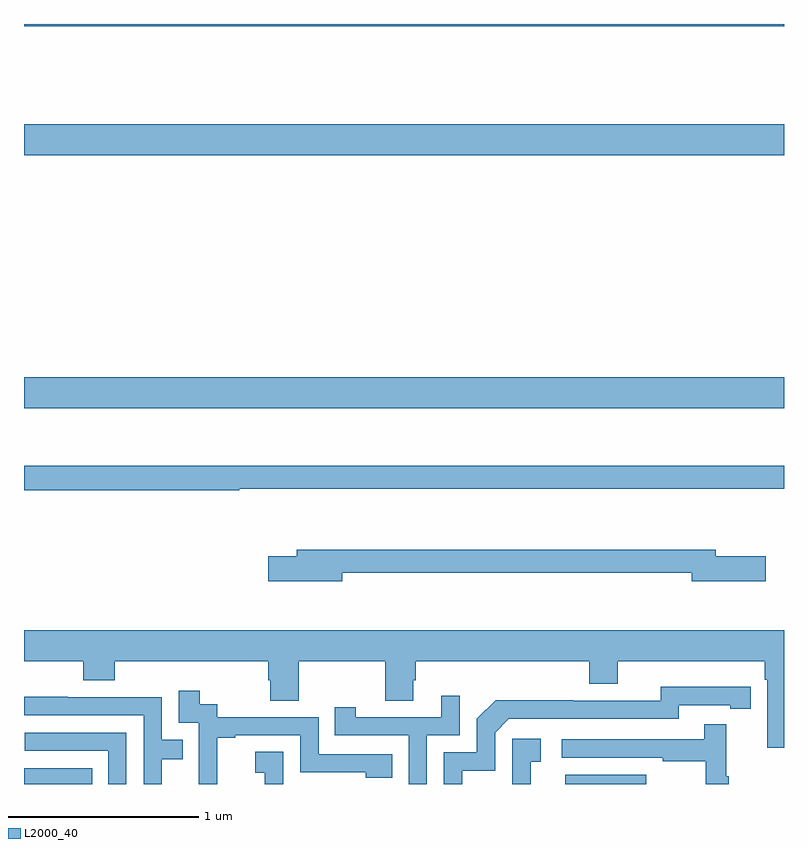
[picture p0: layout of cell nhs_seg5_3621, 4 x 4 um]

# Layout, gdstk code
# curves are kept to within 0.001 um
import gdstk
lib = gdstk.Library(unit=1e-6, precision=1e-09)
def R(c, l, rs):  # rectangles x0, y0, x1, y1
    for r in rs: c.add(gdstk.rectangle(r[:2], r[2:], *l))
def P(c, l, *ps):  # polygons
    for p in ps: c.add(gdstk.Polygon(p, *l))
L2000_40 = (2000, 40)

nhs_seg5_3621 = lib.new_cell('nhs_seg5_3621')
R(nhs_seg5_3621, L2000_40, [(325,838.799,325.358,838.882), (327.848,838.799,328.276,838.849), (325,840.776,329,840.94), (325,842.108,329,842.272), (325,842.788,329,842.799)])
P(nhs_seg5_3621, L2000_40, [(326.134,840.354),(329,840.354),(329,840.475),(325,840.475),(325,840.346),(326.134,840.346)],
  [(326.674,839.91),(328.514,839.91),(328.514,839.867),(328.903,839.867),(328.903,839.997),(328.642,839.997),(328.642,840.031),(326.435,840.031),(326.435,839.997),(326.286,839.997),(326.286,839.867),(326.674,839.867)],
  [(329,839.608),(325,839.608),(325,839.444),(325.313,839.444),(325.313,839.345),(325.478,839.345),(325.478,839.444),(326.285,839.444),(326.285,839.346),(326.297,839.346),(326.297,839.236),(326.445,839.236),(326.445,839.444),(326.902,839.444),(326.902,839.236),(327.049,839.236),(327.049,839.346),(327.062,839.346),(327.062,839.444),(327.974,839.444),(327.974,839.327),(328.126,839.327),(328.126,839.444),(328.898,839.444),(328.898,839.348),(328.911,839.348),(328.911,838.989),(329,838.989)],
  [(327.307,838.869),(327.48,838.869),(327.48,839.07),(327.552,839.142),(328.446,839.142),(328.446,839.214),(328.718,839.214),(328.718,839.194),(328.826,839.194),(328.826,839.31),(328.35,839.311),(328.35,839.238),(327.89,839.238),(327.89,839.24),(327.482,839.24),(327.384,839.142),(327.384,838.965),(327.21,838.965),(327.21,838.799),(327.307,838.799)],
  [(326.018,839.043),(326.113,839.043),(326.113,839.055),(326.454,839.055),(326.454,838.86),(326.799,838.86),(326.799,838.833),(326.939,838.833),(326.939,838.956),(326.55,838.956),(326.55,839.151),(326.016,839.151),(326.016,839.22),(325.924,839.22),(325.924,839.29),(325.815,839.29),(325.815,839.121),(325.92,839.121),(325.92,838.892),(325.919,838.892),(325.919,838.799),(326.018,838.799)],
  [(327.12,839.055),(327.294,839.055),(327.294,839.263),(327.197,839.263),(327.197,839.151),(326.746,839.151),(326.746,839.203),(326.635,839.203),(326.635,839.055),(327.024,839.055),(327.024,838.799),(327.12,838.799)],
  [(325.725,838.93),(325.835,838.93),(325.835,839.031),(325.725,839.031),(325.725,839.256),(325.229,839.256),(325.229,839.258),(325,839.258),(325,839.16),(325.629,839.16),(325.629,838.799),(325.725,838.799)],
  [(328.708,838.841),(328.697,838.841),(328.697,839.113),(328.579,839.113),(328.579,839.034),(327.831,839.034),(327.831,838.938),(328.363,838.938),(328.363,838.918),(328.587,838.918),(328.587,838.799),(328.708,838.799)],
  [(325.539,839.07),(325.005,839.07),(325.005,838.974),(325.443,838.974),(325.443,838.799),(325.539,838.799)],
  [(327.668,838.917),(327.721,838.917),(327.721,839.038),(327.57,839.038),(327.57,838.799),(327.668,838.799)],
  [(326.364,838.969),(326.217,838.969),(326.217,838.859),(326.266,838.859),(326.266,838.799),(326.364,838.799)])

lib.write_gds('nhs_seg5_3621.gds')
